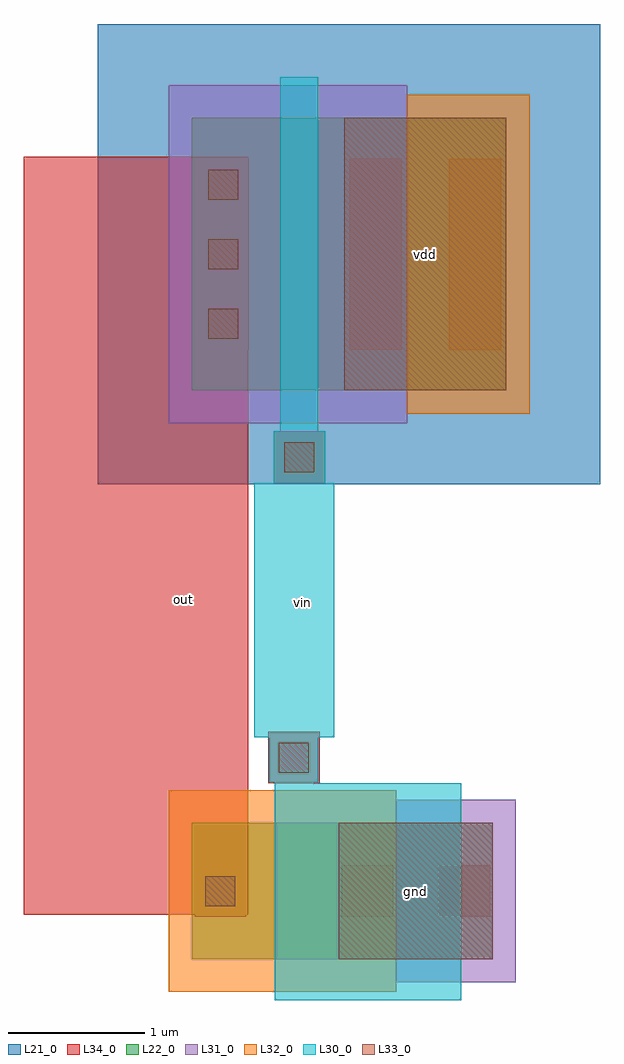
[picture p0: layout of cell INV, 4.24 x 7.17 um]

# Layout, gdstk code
import gdstk
lib = gdstk.Library(unit=1e-6, precision=5e-09)
def R(c, l, rs):  # rectangles x0, y0, x1, y1
    for r in rs: c.add(gdstk.rectangle(r[:2], r[2:], *l))
def A(c, l, x, y, w, h, nx, ny, dx, dy):  # array of equal rectangles
    R(c, l, [(x+i*dx, y+j*dy, x+i*dx+w, y+j*dy+h) for i in range(nx) for j in range(ny)])
L21_0 = (21, 0)
L22_0 = (22, 0)
L30_0 = (30, 0)
L31_0 = (31, 0)
L32_0 = (32, 0)
L33_0 = (33, 0)
L34_0 = (34, 0)

nfet = lib.new_cell('nfet')
R(nfet, L22_0, [(-0.42,0,0,1), (0,0,0.66,1), (0.66,0,1.08,1), (1.08,0,1.79,1)])
R(nfet, L30_0, [(0.19,-0.3,0.47,1.3), (0.15,1.3,0.51,1.66)])
R(nfet, L31_0, [(1.08,-0.17,1.96,1.17)])
R(nfet, L32_0, [(-0.59,-0.24,1.08,1.24)])
R(nfet, L33_0, [(-0.32,0.39,-0.1,0.61), (0.76,0.39,0.98,0.61), (1.47,0.39,1.69,0.61), (0.22,1.37,0.44,1.59)])
R(nfet, L34_0, [(-0.4,0.31,-0.02,0.69), (0.68,0.31,1.06,0.69), (1.39,0.31,1.77,0.69), (0.14,1.29,0.52,1.67)])

pfet_1 = lib.new_cell('pfet$1')
R(pfet_1, L21_0, [(-1.15,-0.69,2.54,2.69)])
R(pfet_1, L22_0, [(-0.46,0,0,2), (0,0,0.66,2), (0.66,0,1.12,2), (1.12,0,1.85,2)])
R(pfet_1, L30_0, [(0.14,-0.68,0.52,-0.3), (0.19,-0.3,0.47,2.3)])
R(pfet_1, L31_0, [(-0.63,-0.24,1.12,2.24)])
R(pfet_1, L32_0, [(1.12,-0.17,2.02,2.17)])
A(pfet_1, L33_0, -0.34, 0.38, 0.22, 0.22, 1, 3, 0, 0.51)
A(pfet_1, L33_0, 0.78, 0.38, 0.22, 0.22, 1, 3, 0, 0.51)
A(pfet_1, L33_0, 1.51, 0.38, 0.22, 0.22, 1, 3, 0, 0.51)
R(pfet_1, L33_0, [(0.22,-0.6,0.44,-0.38)])
R(pfet_1, L34_0, [(0.14,-0.68,0.52,-0.3), (-0.42,0.3,-0.04,1.7), (0.7,0.3,1.08,1.7), (1.43,0.3,1.81,1.7)])

inv = lib.new_cell('INV')
R(inv, L30_0, [(6.86,2.305,7.965,3.895), (6.445,4.235,7.03,6.1)])
R(inv, L33_0, [(7.065,2.605,8.195,3.605), (7.105,6.78,8.295,8.78)])
R(inv, L34_0, [(4.75,2.93,6.4,8.495)])
inv.add(gdstk.Reference(nfet, (6.405,2.605)))
inv.add(gdstk.Reference(pfet_1, (6.445,6.78)))
inv.add(gdstk.Label('out', (5.925,5.245), layer=34, texttype=10))
inv.add(gdstk.Label('vdd', (7.7,7.78), layer=34, texttype=10))
inv.add(gdstk.Label('vin', (6.795,5.225), layer=34, texttype=10))
inv.add(gdstk.Label('gnd', (7.63,3.105), layer=34, texttype=10))

lib.write_gds('INV.gds')
